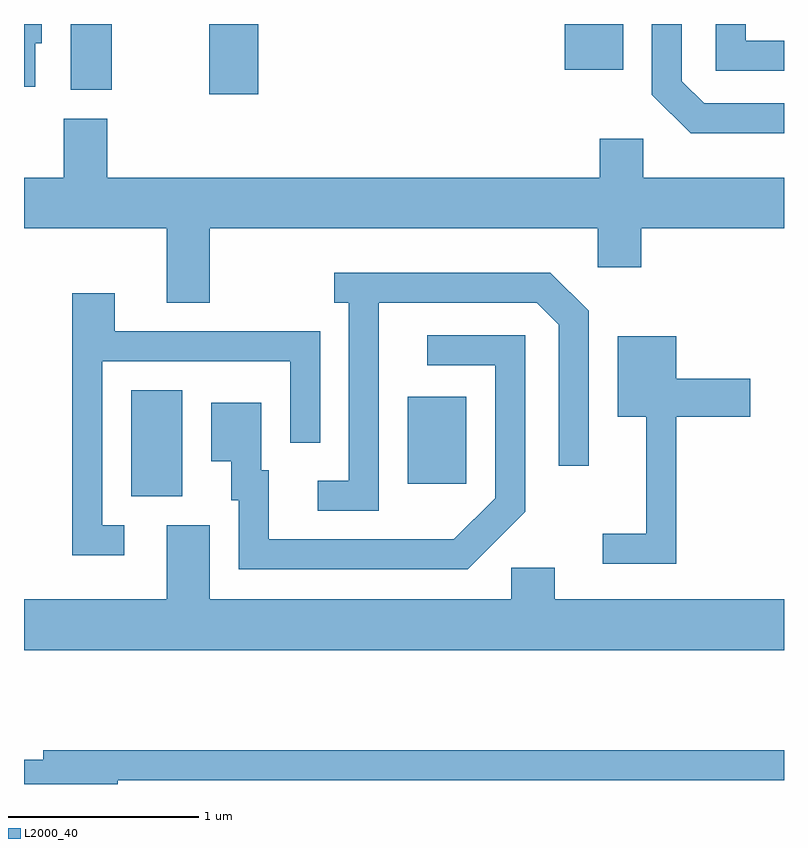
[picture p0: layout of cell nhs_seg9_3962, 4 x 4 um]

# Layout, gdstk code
import gdstk
lib = gdstk.Library(unit=1e-6, precision=1e-09)
def R(c, l, rs):  # rectangles x0, y0, x1, y1
    for r in rs: c.add(gdstk.rectangle(r[:2], r[2:], *l))
def P(c, l, *ps):  # polygons
    for p in ps: c.add(gdstk.Polygon(p, *l))
L2000_40 = (2000, 40)

nhs_seg9_3962 = lib.new_cell('nhs_seg9_3962')
R(nhs_seg9_3962, L2000_40, [(302.176,2005.946,302.444,2006.504), (303.631,2006.011,303.939,2006.469), (302.586,2008.061,302.844,2008.432), (301.856,2008.086,302.074,2008.432), (304.456,2008.191,304.764,2008.432)])
P(nhs_seg9_3962, L2000_40, [(305.611,2008.344),(305.409,2008.344),(305.409,2008.432),(305.251,2008.432),(305.251,2008.186),(305.611,2008.186)],
  [(301.669,2008.331),(301.704,2008.331),(301.704,2008.432),(301.611,2008.432),(301.611,2008.101),(301.669,2008.101)],
  [(305.611,2008.014),(305.192,2008.014),(305.074,2008.132),(305.074,2008.432),(304.916,2008.432),(304.916,2008.059),(305.119,2007.856),(305.611,2007.856)],
  [(302.361,2006.966),(302.589,2006.966),(302.589,2007.356),(304.631,2007.356),(304.631,2007.151),(304.859,2007.151),(304.859,2007.356),(305.611,2007.356),(305.611,2007.624),(304.869,2007.624),(304.869,2007.829),(304.641,2007.829),(304.641,2007.624),(302.049,2007.624),(302.049,2007.934),(301.821,2007.934),(301.821,2007.624),(301.611,2007.624),(301.611,2007.356),(302.361,2007.356)],
  [(303.479,2006.966),(304.309,2006.966),(304.426,2006.849),(304.426,2006.108),(304.584,2006.108),(304.584,2006.922),(304.382,2007.124),(303.243,2007.124),(303.243,2006.966),(303.321,2006.966),(303.321,2006.029),(303.158,2006.029),(303.158,2005.871),(303.479,2005.871)],
  [(302.138,2005.794),(302.024,2005.794),(302.024,2006.656),(303.011,2006.656),(303.011,2006.228),(303.169,2006.228),(303.169,2006.814),(302.089,2006.814),(302.089,2007.014),(301.866,2007.014),(301.866,2005.636),(302.138,2005.636)],
  [(304.249,2005.864),(304.249,2006.794),(303.733,2006.794),(303.733,2006.636),(304.091,2006.636),(304.091,2005.937),(303.874,2005.719),(302.899,2005.719),(302.899,2006.084),(302.859,2006.084),(302.859,2006.439),(302.596,2006.439),(302.596,2006.131),(302.701,2006.131),(302.701,2005.926),(302.741,2005.926),(302.741,2005.561),(303.947,2005.561)],
  [(305.044,2006.366),(305.434,2006.366),(305.434,2006.564),(305.044,2006.564),(305.044,2006.789),(304.736,2006.789),(304.736,2006.366),(304.886,2006.366),(304.886,2005.749),(304.658,2005.749),(304.658,2005.591),(305.044,2005.591)],
  [(305.611,2005.404),(304.404,2005.404),(304.404,2005.569),(304.176,2005.569),(304.176,2005.404),(302.589,2005.404),(302.589,2005.794),(302.361,2005.794),(302.361,2005.404),(301.611,2005.404),(301.611,2005.136),(305.611,2005.136)],
  [(302.104,2004.451),(305.611,2004.451),(305.611,2004.609),(301.711,2004.609),(301.711,2004.559),(301.611,2004.559),(301.611,2004.432),(302.104,2004.432)])

lib.write_gds('nhs_seg9_3962.gds')
